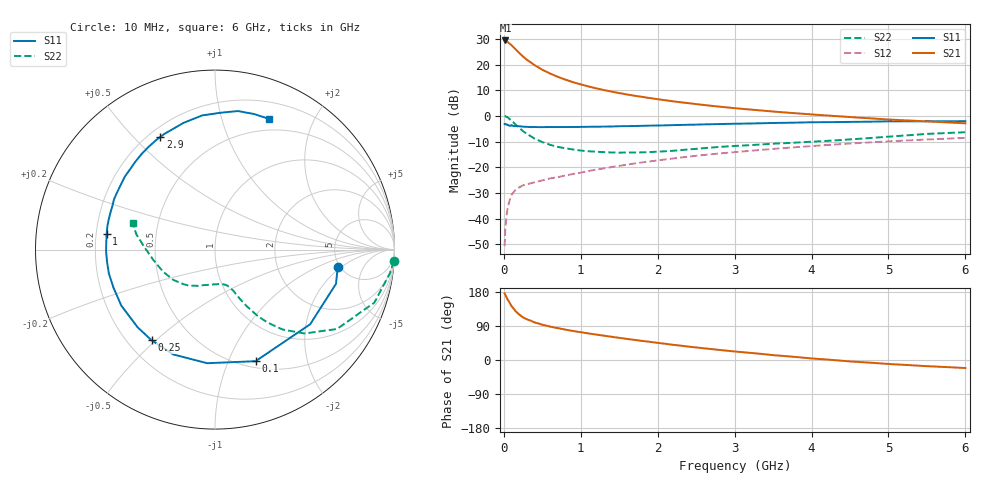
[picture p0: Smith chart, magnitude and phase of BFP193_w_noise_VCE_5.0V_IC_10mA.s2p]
! Infineon Technologies  Discrete & RF Semiconductors
! BFP193
! VCE =  5.0 V,  IC =  10 mA
! Common Emitter S-Parameters:  Jan 2017
# GHz  S  MA  R  50
!  f  S11  S21  S12  S22
! GHz  MAG  ANG  MAG  ANG  MAG  ANG  MAG  ANG
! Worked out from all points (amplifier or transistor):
!   77 points, 10 MHz to 6 GHz, reference 50 ohm
!   highest |S21| = 29.4 dB at 20 MHz (marker M1)
!   |S21| within 3 dB of that: start of sweep to 137.2 MHz
!   unconditionally stable (mu >= 1): 1.141 GHz to 2.578 GHz
!   at 130 MHz: K = 0.23, MSG = 28.1 dB, |S12| = -29.6 dB
!   at 2.2 GHz: K = 1.03, MAG = 10.0 dB, |S12| = -16.6 dB
!   at 6 GHz: K = 0.88, MSG = 2.8 dB, |S12| = -8.6 dB
!   lowest NFmin = 0.87 dB at 450 MHz
!   S11 on the Smith chart (normalised r, x): 10 MHz: 4.79, -1.76; 100 MHz: 0.57, -1.26; 250 MHz: 0.30, -0.48; 1 GHz: 0.24, +0.07; 2.9 GHz: 0.24, +0.60; 6 GHz: 0.37, +1.43
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0.01  0.6907 -8.0  29.14 175.6  0.0029 91.0  0.9984 -3.7
0.02  0.7005 -15.8  29.44 171.4  0.0064 91.8  0.9834 -7.7
0.05  0.674 -38.1  27.55 159.1  0.0161 73.0  0.9358 -18.4
0.1  0.6615 -70.0  23.86 142.1  0.0289 61.2  0.8115 -33.0
0.15  0.6345 -93.9  19.95 129.2  0.0358 52.4  0.6842 -43.1
0.2  0.6287 -111.7  16.79 119.9  0.0404 47.5  0.5829 -49.8
0.25  0.6166 -125.0  14.31 112.5  0.0445 44.7  0.5032 -54.1
0.3  0.6109 -134.9  12.37 107.3  0.0465 43.2  0.4423 -57.2
0.4  0.6081 -149.2  9.704 99.1  0.051 42.9  0.3604 -60.8
0.5  0.6041 -159.5  7.912 93.1  0.0554 43.3  0.3087 -63.1
0.6  0.6061 -167.3  6.69 88.2  0.0604 45.0  0.2737 -64.8
0.7  0.6054 -173.4  5.771 84.1  0.0639 46.4  0.2492 -66.1
0.9  0.6071 176.1  4.528 76.6  0.0739 48.7  0.2214 -69.4
1  0.61 171.8  4.103 73.3  0.0785 49.6  0.211 -71.4
1.1  0.6136 167.6  3.744 70.2  0.0844 50.3  0.2049 -73.4
1.5  0.6284 153.6  2.778 58.5  0.1063 51.4  0.1924 -84.7
2.1  0.654 135.1  2.014 42.8  0.1419 50.0  0.2047 -105.2
2.9  0.6978 115.9  1.464 24.6  0.1908 44.6  0.2539 -129.2
3.1  0.7066 111.7  1.372 20.7  0.2027 42.8  0.2641 -134.4
4.1  0.7522 93.9  1.042 2.7  0.2641 33.5  0.3197 -159.9
5.1  0.7823 79.2  0.836 -11.6  0.3243 22.7  0.4035 176.0
6  0.788 67.5  0.717 -21.2  0.3731 12.4  0.4811 162.4
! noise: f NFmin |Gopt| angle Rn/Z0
0.45  0.87  0.21  156  0.07
0.9  1  0.35  173  0.06
1.9  1.75  0.57  -146  0.13
2.4  2.13  0.63  -128  0.31
